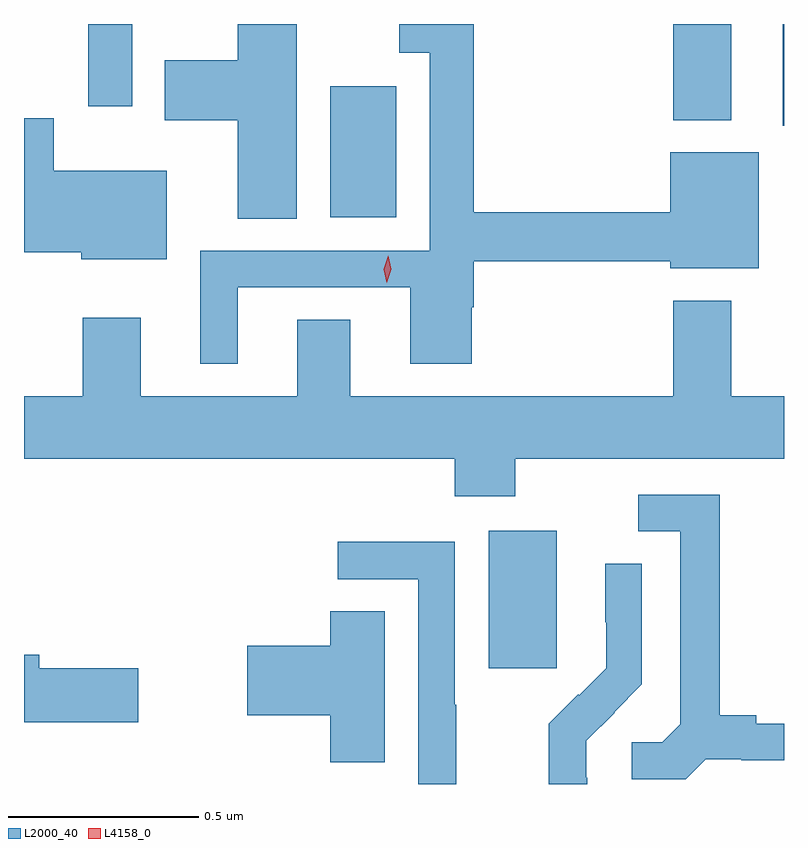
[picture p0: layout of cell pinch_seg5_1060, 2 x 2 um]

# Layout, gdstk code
import gdstk
lib = gdstk.Library(unit=1e-6, precision=1e-09)
def R(c, l, rs):  # rectangles x0, y0, x1, y1
    for r in rs: c.add(gdstk.rectangle(r[:2], r[2:], *l))
def P(c, l, *ps):  # polygons
    for p in ps: c.add(gdstk.Polygon(p, *l))
L2000_40 = (2000, 40)
L4158_0 = (4158, 0)

pinch_seg5_1060 = lib.new_cell('pinch_seg5_1060')
R(pinch_seg5_1060, L2000_40, [(745.409,837.561,745.588,837.922), (744.992,838.748,745.165,839.092), (746.183,838.988,746.186,839.256), (745.895,839.003,746.047,839.256), (744.355,839.04,744.471,839.256)])
P(pinch_seg5_1060, L2000_40, [(744.748,838.563),(745.202,838.563),(745.202,838.362),(745.364,838.362),(745.364,838.511),(745.37,838.511),(745.37,838.632),(745.886,838.632),(745.886,838.613),(746.119,838.613),(746.119,838.918),(745.886,838.918),(745.886,838.76),(745.37,838.76),(745.37,839.256),(745.173,839.256),(745.173,839.181),(745.254,839.181),(745.254,838.659),(744.65,838.659),(744.65,838.362),(744.748,838.362)],
  [(744.904,839.256),(744.749,839.256),(744.749,839.161),(744.556,839.161),(744.556,839.003),(744.749,839.003),(744.749,838.744),(744.904,838.744)],
  [(744.562,838.87),(744.264,838.87),(744.264,839.008),(744.186,839.008),(744.186,838.655),(744.336,838.655),(744.336,838.637),(744.562,838.637)],
  [(745.479,838.112),(746.186,838.112),(746.186,838.276),(746.047,838.276),(746.047,838.528),(745.895,838.528),(745.895,838.276),(745.045,838.276),(745.045,838.478),(744.905,838.478),(744.905,838.276),(744.493,838.276),(744.493,838.483),(744.341,838.483),(744.341,838.276),(744.186,838.276),(744.186,838.112),(745.319,838.112),(745.319,838.013),(745.479,838.013)],
  [(745.98,837.321),(746.074,837.321),(746.074,837.318),(746.186,837.318),(746.186,837.414),(746.113,837.414),(746.113,837.437),(746.017,837.437),(746.017,838.017),(745.803,838.017),(745.803,837.921),(745.913,837.921),(745.913,837.413),(745.866,837.366),(745.785,837.366),(745.785,837.269),(745.928,837.269)],
  [(745.323,837.464),(745.32,837.464),(745.32,837.894),(745.011,837.894),(745.011,837.795),(745.224,837.795),(745.224,837.256),(745.323,837.256)],
  [(745.668,837.273),(745.666,837.273),(745.666,837.37),(745.74,837.444),(745.739,837.445),(745.812,837.518),(745.812,837.836),(745.716,837.836),(745.716,837.682),(745.718,837.682),(745.718,837.56),(745.647,837.489),(745.644,837.492),(745.567,837.415),(745.567,837.256),(745.668,837.256)],
  [(745.135,837.71),(744.992,837.71),(744.992,837.62),(744.774,837.62),(744.774,837.437),(744.992,837.437),(744.992,837.313),(745.135,837.313)],
  [(744.487,837.56),(744.226,837.56),(744.226,837.596),(744.186,837.596),(744.186,837.418),(744.487,837.418)])
P(pinch_seg5_1060, L4158_0, [(745.14,838.575),(745.133,838.611),(745.145,838.646),(745.145,838.646),(745.145,838.646),(745.153,838.61),(745.141,838.575),(745.141,838.575)])

lib.write_gds('pinch_seg5_1060.gds')
